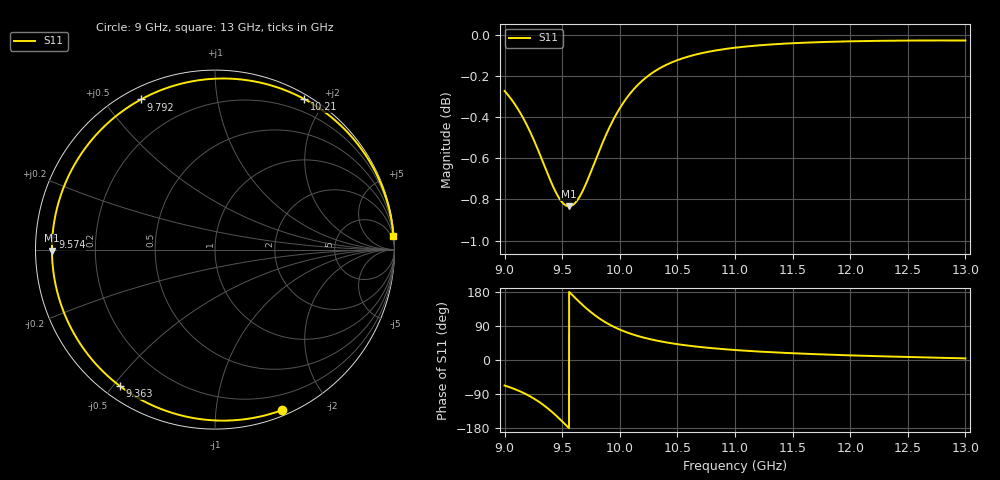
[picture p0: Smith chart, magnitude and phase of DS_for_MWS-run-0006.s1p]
! TOUCHSTONE file generated by CST DESIGN STUDIO
! Date and time: Tue Feb  4 18:19:09 2025
! Project name: C:\Work\MatlabApps\UnitCellOptimizationMatlab\CST\unitcell.cst
! Tree item: Tasks\Sweep1\SPara1\S-Parameters
! Header version: 2024
! Port assignment regex: !\s*Touchstone port\s*([0-9]+)\s*=\s*(CST MWS port|CST DES external port|CST DES block port)\s*(.+)\s* \(\"(.*)\"\)(\s*mode\s*([0-9]+))?.*
! Touchstone port assignment:
! Touchstone port 1 = CST DES external port 1 ("")
# GHz S MA R 50
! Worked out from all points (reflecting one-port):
!   4001 points, 9 GHz to 13 GHz, reference 50 ohm
!   lowest |S11| = -0.8 dB at 9.558 GHz (marker M1), VSWR 20.87, Z = 2.4 - j0.168 ohm
!   phase of S11 starts at -67 deg and turns -288 deg over the sweep
!   S11 on the Smith chart (normalised r, x): 9 GHz: 0.05, -1.50; 9.363 GHz: 0.05, -0.52; 9.574 GHz: 0.05, +0.04; 9.792 GHz: 0.05, +0.62; 10.21 GHz: 0.05, +1.76; 13 GHz: 1, +27
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9  0.9691 -67.3
9.039  0.9662 -71.3
9.104  0.9605 -78.8
9.216  0.9479 -95.0
9.294  0.9371 -109.5
9.363  0.9268 -124.8
9.429  0.9176 -141.8
9.5  0.9105 -162.1
9.558  0.9085 -179.6
9.574  0.9087 175.5
9.629  0.9114 158.9
9.69  0.9179 141.6
9.741  0.925 128.2
9.792  0.9327 116.2
9.837  0.9395 106.8
9.885  0.9462 97.8
9.939  0.9531 88.9
10  0.9598 80.3
10.098  0.9684 68.9
10.205  0.9752 59.3
10.341  0.9813 49.9
10.5  0.986 41.8
10.721  0.99 33.6
11  0.9929 26.3
11.5  0.9954 17.9
12  0.9964 12.2
12.5  0.9968 8.0
13  0.9969 4.3
